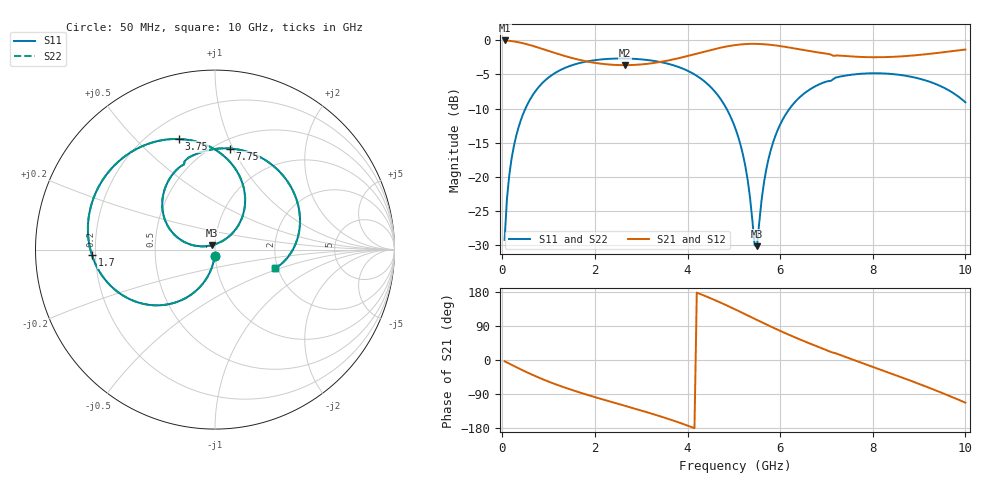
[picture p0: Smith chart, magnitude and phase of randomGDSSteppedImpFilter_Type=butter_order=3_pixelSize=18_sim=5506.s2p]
! freq	dB(S11)	phase(S11)	dB(S12)	phase(S12)
!  dB(S21)	phase(S21)	dB(S22)	phase(S22)
!S-par simulation data
#  GHz  S  DB  R 50
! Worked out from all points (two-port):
!   200 points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, 50 MHz to 10 GHz, reference 50 ohm
!   highest |S21| = -0.01 dB at 50 MHz (marker M1); lowest = -3.6 dB at 2.65 GHz (marker M2)
!   |S21| within 3 dB of the highest: start of sweep to 1.768 GHz; 3.537 GHz to end of sweep
!   lowest |S11| = -30.2 dB at 5.5 GHz (marker M3), VSWR 1.06, Z = 48.1 + j2.35 ohm
!   |S11| at or under -10 dB: start of sweep to 499.7 MHz; 4.84 GHz to 6.206 GHz (1.365 GHz wide, 24.7 % of centre)
!   |S22| runs from -30.5 to -2.7 dB; largest |S21 - S12| = 0
!   S11 on the Smith chart (normalised r, x): 50 MHz: 0.99, -0.07; 1.7 GHz: 0.19, -0.02; 3.75 GHz: 0.32, +0.68; 7.75 GHz: 0.58, +0.97; 10 GHz: 1.94, -0.46
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0.05  -29.28 -93.3  -0.01 -3.2  -0.01 -3.2  -29.28 -93.3
0.1  -23.29 -96.7  -0.03 -6.4  -0.03 -6.4  -23.29 -96.7
0.2  -17.39 -103.2  -0.10 -12.6  -0.10 -12.6  -17.39 -103.2
0.5  -10.00 -121.3  -0.50 -30.7  -0.50 -30.7  -10.00 -121.3
1  -5.44 -147.6  -1.54 -57.0  -1.54 -57.0  -5.44 -147.6
1.7  -3.27 -177.3  -2.91 -86.8  -2.91 -86.8  -3.27 -177.3
1.75  -3.20 -179.2  -2.98 -88.7  -2.98 -88.7  -3.20 -179.2
2.65  -2.66 148.7  -3.63 -120.9  -3.63 -120.9  -2.66 148.6
3.4  -3.16 121.7  -3.18 -148.2  -3.18 -148.2  -3.16 121.7
3.75  -3.77 108.0  -2.70 -162.2  -2.70 -162.2  -3.77 108.0
4.5  -6.85 74.6  -1.41 162.8  -1.41 162.8  -6.85 74.5
5.05  -13.24 48.5  -0.67 132.3  -0.67 132.3  -13.25 48.2
5.25  -18.52 43.2  -0.54 120.6  -0.54 120.6  -18.53 42.7
5.45  -30.08 83.1  -0.50 108.7  -0.50 108.7  -30.33 82.2
5.5  -30.20 127.7  -0.51 105.7  -0.51 105.7  -30.48 128.3
5.65  -20.89 167.8  -0.56 96.9  -0.56 96.9  -20.93 168.5
5.85  -14.92 165.7  -0.69 85.3  -0.69 85.3  -14.93 166.0
6.7  -6.95 127.3  -1.63 40.6  -1.63 40.6  -6.95 127.4
7.75  -4.89 81.5  -2.43 -7.1  -2.43 -7.1  -4.89 81.6
8.35  -4.90 56.0  -2.43 -33.5  -2.43 -33.5  -4.90 56.1
9.3  -6.24 14.5  -1.92 -77.3  -1.92 -77.3  -6.24 14.6
10  -9.08 -17.3  -1.34 -112.6  -1.34 -112.6  -9.08 -17.1
